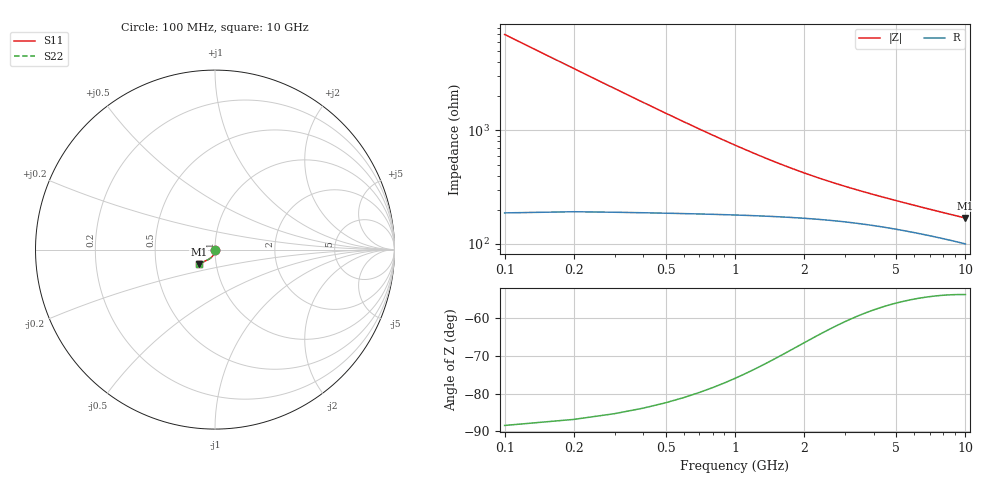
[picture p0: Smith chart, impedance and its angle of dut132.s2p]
! Touchstone file exported from HFSS 2024.1.0
!  File:  C:/UserFiles/LocalFiles/RDL_TSV_Batchsim/temp_TSV1_132_1778753891.aedt
!  Generated:  06:22:06 PM May 14, 2026
!  Design:  TSV1
!  Project:  temp_TSV1_132_1778753891
!  Setup:  Setup1
!  Solution:  Sweep
! Variables:
!  dtsv = 20.39um
!  hbump = 3um
!  htsv = 92.72um
!  lrdl = 252.1521522um
!  p = 40
!  p1 = 46.89um
!  t = 500um
!  trdl = 3um
!  wrdl = 24.89489489um
# GHz S MA R 50.000000
! Terminal data exported
! Port[1] = TSV22_T1
! Port[2] = TSV22_T2
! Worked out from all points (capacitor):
!   100 points, 100 MHz to 10 GHz, reference 50 ohm
!   read as one part in shunt: C = 228 fF near 100 MHz
!   lowest |Z| = 169 ohm at 10 GHz (marker M1)
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0.1  0.003303 -90.3  0.9998 -0.2  0.9998 -0.2  0.003303 -90.3
! Gamma 0 0 0 0
! Port Impedance 50 0 50 0
0.2  0.006608 -93.0  0.9995 -0.4  0.9995 -0.4  0.006608 -93.0
0.3  0.009896 -94.9  0.999 -0.7  0.999 -0.7  0.009896 -94.9
0.4  0.01314 -96.8  0.9982 -0.9  0.9982 -0.9  0.01314 -96.8
0.5  0.01634 -98.5  0.9973 -1.1  0.9973 -1.1  0.01634 -98.5
0.6  0.01947 -100.2  0.9963 -1.3  0.9963 -1.3  0.01947 -100.2
0.7  0.02252 -101.8  0.9951 -1.5  0.9951 -1.5  0.02252 -101.8
0.8  0.0255 -103.4  0.9939 -1.6  0.9939 -1.6  0.0255 -103.4
0.9  0.02838 -104.9  0.9925 -1.8  0.9925 -1.8  0.02838 -104.9
1.1  0.03387 -107.8  0.9895 -2.2  0.9895 -2.2  0.03387 -107.8
1.4  0.04137 -111.7  0.9848 -2.6  0.9848 -2.6  0.04137 -111.7
1.6  0.0459 -114.0  0.9816 -2.8  0.9816 -2.8  0.0459 -114.0
1.8  0.05007 -116.1  0.9783 -3.1  0.9783 -3.1  0.05007 -116.1
2.1  0.05571 -119.0  0.9737 -3.4  0.9737 -3.4  0.05571 -119.0
2.5  0.06227 -122.1  0.9678 -3.7  0.9678 -3.7  0.06227 -122.1
2.9  0.06796 -124.6  0.9625 -4.0  0.9625 -4.0  0.06796 -124.6
3.4  0.07413 -127.1  0.9566 -4.4  0.9566 -4.4  0.07413 -127.1
4.2  0.0825 -130.1  0.9486 -4.8  0.9486 -4.8  0.0825 -130.1
5.1  0.09045 -132.5  0.9411 -5.3  0.9411 -5.3  0.09045 -132.5
6.7  0.1022 -135.3  0.9304 -6.1  0.9304 -6.1  0.1022 -135.3
8.4  0.1124 -137.2  0.9214 -6.8  0.9214 -6.8  0.1124 -137.2
10  0.1206 -138.4  0.9145 -7.5  0.9145 -7.5  0.1206 -138.4
